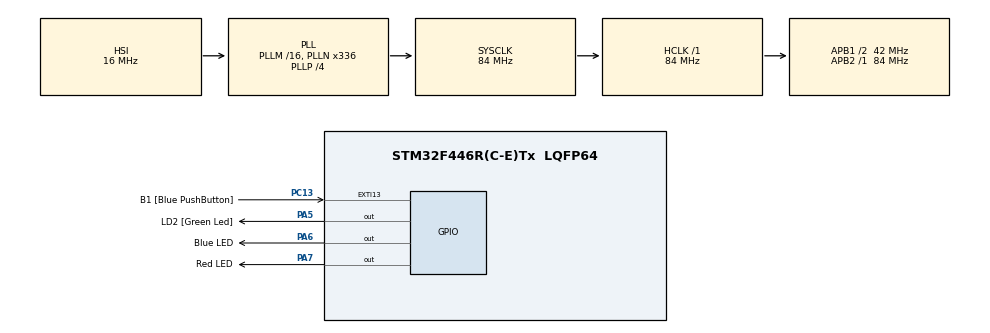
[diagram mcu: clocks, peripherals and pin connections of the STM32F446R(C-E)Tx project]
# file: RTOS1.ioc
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Mcu.Family=STM32F4
Mcu.Name=STM32F446R(C-E)Tx
Mcu.Package=LQFP64
NVIC.PriorityGroup=NVIC_PRIORITYGROUP_4
NVIC.TIM6_DAC_IRQn=true\:15\:0\:false\:false\:true\:false\:true\:true
NVIC.TimeBase=TIM6_DAC_IRQn
NVIC.TimeBaseIP=TIM6
PA13.GPIO_Label=TMS
PA13.Mode=Serial_Wire
PA13.Signal=SYS_JTMS-SWDIO
PA14.GPIO_Label=TCK
PA14.Mode=Serial_Wire
PA14.Signal=SYS_JTCK-SWCLK
PA2.GPIO_Label=USART_TX
PA2.Signal=USART2_TX
PA3.GPIO_Label=USART_RX
PA3.Signal=USART2_RX
PA5.GPIO_Label=LD2 [Green Led]
PA5.Signal=GPIO_Output
PA6.GPIO_Label=Blue LED
PA6.Signal=GPIO_Output
PA7.GPIO_Label=Red LED
PA7.Signal=GPIO_Output
PB3.GPIO_Label=SWO
PB3.Signal=SYS_JTDO-SWO
PC13.GPIO_Label=B1 [Blue PushButton]
PC13.GPIO_ModeDefaultEXTI=GPIO_MODE_IT_FALLING
PC13.Signal=GPXTI13
PC14-OSC32_IN.Signal=RCC_OSC32_IN
PC15-OSC32_OUT.Signal=RCC_OSC32_OUT
PH0-OSC_IN.Signal=RCC_OSC_IN
PH1-OSC_OUT.Signal=RCC_OSC_OUT
ProjectManager.HeapSize=0x200
ProjectManager.StackSize=0x400
ProjectManager.TargetToolchain=STM32CubeIDE
RCC.AHBFreq_Value=84000000
RCC.APB1CLKDivider=RCC_HCLK_DIV2
RCC.APB1Freq_Value=42000000
RCC.APB1TimFreq_Value=84000000
RCC.APB2Freq_Value=84000000
RCC.APB2TimFreq_Value=84000000
RCC.CortexFreq_Value=84000000
RCC.FLatency-AdvancedSettings=FLASH_LATENCY_2
RCC.HCLKFreq_Value=84000000
RCC.HSE_VALUE=8000000
RCC.HSI_VALUE=16000000
RCC.LSE_VALUE=32768
RCC.PLLN=336
RCC.PLLP=RCC_PLLP_DIV4
RCC.SYSCLKFreq_VALUE=84000000
RCC.SYSCLKSource=RCC_SYSCLKSOURCE_PLLCLK
RCC.USBFreq_Value=168000000
RCC.VCOOutputFreq_Value=336000000
VP_SYS_VS_tim6.Mode=TIM6
board=NUCLEO-F446RE

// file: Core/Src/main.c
/* USER CODE BEGIN Header */
/**
  ******************************************************************************
  * @file           : main.c
  * @brief          : Main program body
  ******************************************************************************
  * @attention
  *
  * Copyright (c) 2026 STMicroelectronics.
  * All rights reserved.
  *
  * This software is licensed under terms that can be found in the LICENSE file
  * in the root directory of this software component.
  * If no LICENSE file comes with this software, it is provided AS-IS.
  *
  ******************************************************************************
  */
/* USER CODE END Header */
#include "main.h"

/* USER CODE BEGIN Includes */
#include <stdio.h>
#include "FreeRTOS.h"
#include "task.h"

/* USER CODE END Includes */

void SystemClock_Config(void);
static void MX_GPIO_Init(void);
/* USER CODE BEGIN PFP */
static void task1_handler(void * pvParameters);
static void task2_handler(void * pvParameters);
/* USER CODE END PFP */

int main(void)
{

  /* USER CODE BEGIN 1 */
	TaskHandle_t task1_handle;
	TaskHandle_t task2_handle;
	BaseType_t xReturned;

  /* USER CODE END 1 */

  /* MCU Configuration--------------------------------------------------------*/

  /* Reset of all peripherals, Initializes the Flash interface and the Systick. */
  HAL_Init();

  /* Configure the system clock */
  SystemClock_Config();

  /* Initialize all configured peripherals */
  MX_GPIO_Init();
  /* USER CODE BEGIN 2 */

  xReturned = xTaskCreate(
		  	  	  	  task1_handler,       /* Function that implements the task. */
                      "TASK1",          /* Text name for the task. */
                      100,      /* Stack size in words, not bytes. */
                      "Hello from Task1",    /* Parameter passed into the task. */
                      2,/* Priority at which the task is created. */
                      &task1_handle );      /* Used to pass out the created task's handle. */

  configASSERT(xReturned == pdPASS);

  xReturned = xTaskCreate(
		  	  	  	  task2_handler,       /* Function that implements the task. */
                      "TASK2",          /* Text name for the task. */
                      100,      /* Stack size in words, not bytes. */
                      "Hello from Task2",    /* Parameter passed into the task. */
                      2,/* Priority at which the task is created. */
                      &task2_handle );      /* Used to pass out the created task's handle. */

  configASSERT(xReturned == pdPASS);

  vTaskStartScheduler();

  /* USER CODE END 2 */

  /* Infinite loop */
  while (1)
  {

  }
}

void SystemClock_Config(void)
{
  RCC_OscInitTypeDef RCC_OscInitStruct = {0};
  RCC_ClkInitTypeDef RCC_ClkInitStruct = {0};

  /** Configure the main internal regulator output voltage
  */
  __HAL_RCC_PWR_CLK_ENABLE();
  __HAL_PWR_VOLTAGESCALING_CONFIG(PWR_REGULATOR_VOLTAGE_SCALE3);

  /** Initializes the RCC Oscillators according to the specified parameters
  * in the RCC_OscInitTypeDef structure.
  */
  RCC_OscInitStruct.OscillatorType = RCC_OSCILLATORTYPE_HSI;
  RCC_OscInitStruct.HSIState = RCC_HSI_ON;
  RCC_OscInitStruct.HSICalibrationValue = RCC_HSICALIBRATION_DEFAULT;
  RCC_OscInitStruct.PLL.PLLState = RCC_PLL_ON;
  RCC_OscInitStruct.PLL.PLLSource = RCC_PLLSOURCE_HSI;
  RCC_OscInitStruct.PLL.PLLM = 16;
  RCC_OscInitStruct.PLL.PLLN = 336;
  RCC_OscInitStruct.PLL.PLLP = RCC_PLLP_DIV4;
  RCC_OscInitStruct.PLL.PLLQ = 2;
  RCC_OscInitStruct.PLL.PLLR = 2;
  if (HAL_RCC_OscConfig(&RCC_OscInitStruct) != HAL_OK)
  {
    Error_Handler();
  }

  /** Initializes the CPU, AHB and APB buses clocks
  */
  RCC_ClkInitStruct.ClockType = RCC_CLOCKTYPE_HCLK|RCC_CLOCKTYPE_SYSCLK
                              |RCC_CLOCKTYPE_PCLK1|RCC_CLOCKTYPE_PCLK2;
  RCC_ClkInitStruct.SYSCLKSource = RCC_SYSCLKSOURCE_PLLCLK;
  RCC_ClkInitStruct.AHBCLKDivider = RCC_SYSCLK_DIV1;
  RCC_ClkInitStruct.APB1CLKDivider = RCC_HCLK_DIV2;
  RCC_ClkInitStruct.APB2CLKDivider = RCC_HCLK_DIV1;

  if (HAL_RCC_ClockConfig(&RCC_ClkInitStruct, FLASH_LATENCY_2) != HAL_OK)
  {
    Error_Handler();
  }
}

static void MX_GPIO_Init(void)
{
  GPIO_InitTypeDef GPIO_InitStruct = {0};

  /* GPIO Ports Clock Enable */
  __HAL_RCC_GPIOC_CLK_ENABLE();
  __HAL_RCC_GPIOH_CLK_ENABLE();
  __HAL_RCC_GPIOA_CLK_ENABLE();
  __HAL_RCC_GPIOB_CLK_ENABLE();

  /*Configure GPIO pin Output Level */
  HAL_GPIO_WritePin(GPIOA, LD2_Pin|Blue_LED_Pin|Red_LED_Pin, GPIO_PIN_RESET);

  /*Configure GPIO pin : B1_Pin */
  GPIO_InitStruct.Pin = B1_Pin;
  GPIO_InitStruct.Mode = GPIO_MODE_IT_FALLING;
  GPIO_InitStruct.Pull = GPIO_NOPULL;
  HAL_GPIO_Init(B1_GPIO_Port, &GPIO_InitStruct);

  /*Configure GPIO pins : USART_TX_Pin USART_RX_Pin */
  GPIO_InitStruct.Pin = USART_TX_Pin|USART_RX_Pin;
  GPIO_InitStruct.Mode = GPIO_MODE_AF_PP;
  GPIO_InitStruct.Pull = GPIO_NOPULL;
  GPIO_InitStruct.Speed = GPIO_SPEED_FREQ_VERY_HIGH;
  GPIO_InitStruct.Alternate = GPIO_AF7_USART2;
  HAL_GPIO_Init(GPIOA, &GPIO_InitStruct);

  /*Configure GPIO pins : LD2_Pin Blue_LED_Pin Red_LED_Pin */
  GPIO_InitStruct.Pin = LD2_Pin|Blue_LED_Pin|Red_LED_Pin;
  GPIO_InitStruct.Mode = GPIO_MODE_OUTPUT_PP;
  GPIO_InitStruct.Pull = GPIO_NOPULL;
  GPIO_InitStruct.Speed = GPIO_SPEED_FREQ_LOW;
  HAL_GPIO_Init(GPIOA, &GPIO_InitStruct);

}

/* USER CODE BEGIN 4 */
static void task1_handler(void* parameters)
{
	while(1)
	{
		printf("%s\r\n", (char*)parameters);
		vTaskDelay(pdMS_TO_TICKS(1000));
		taskYIELD();
	}

}

static void task2_handler(void* parameters)
{
	while(1)
	{
		printf("%s\r\n", (char*)parameters);
		vTaskDelay(pdMS_TO_TICKS(1000));
		taskYIELD();
	}

}

/* USER CODE END 4 */

void HAL_TIM_PeriodElapsedCallback(TIM_HandleTypeDef *htim)
{
  if (htim->Instance == TIM6)
  {
    HAL_IncTick();
  }
}

void Error_Handler(void)
{
  __disable_irq();
  while (1)
  {
  }
}
